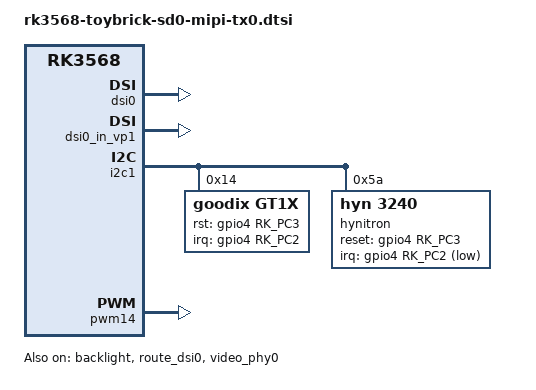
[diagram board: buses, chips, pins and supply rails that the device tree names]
// SPDX-License-Identifier: (GPL-2.0+ OR MIT)
/*
 * Copyright (c) 2023 Rockchip Electronics Co., Ltd.
 *
 */

/ {
	compatible = "rockchip,rk3568-toybrick-sd0-mipi-tx0", "rockchip,rk3568";
};

/*
 * mipi_dphy0 needs to be enabled
 * when dsi0 is enabled
 */
&backlight {
	status = "okay";
	pwms = <&pwm14 0 25000 0>;
};

&dsi0 {
	status = "okay";
};

&dsi0_in_vp0 {
	status = "disabled";
};

&dsi0_in_vp1 {
	status = "okay";
};

&dsi0_panel {
	power-supply = <&vcc3v3_lcd0_n>;
};

&i2c1 {
	status = "okay";
	power-supply = <&vcc3v3_lcd0_n>;
	gt1x: gt1x@14 {
		compatible = "goodix,gt1x";
		status = "okay";
		reg = <0x14>;
		pinctrl-names = "default";
		pinctrl-0 = <&touch_pin>;
		goodix,rst-gpio = <&gpio4 RK_PC3 GPIO_ACTIVE_HIGH>;
		goodix,irq-gpio = <&gpio4 RK_PC2 IRQ_TYPE_LEVEL_LOW>;
	};

	hynitron: hynitron@5a {
		compatible = "hyn,3240";
		status = "okay";
		reg = <0x5a>;

		pinctrl-names = "ts_active","ts_suspend";
		pinctrl-0 = <&ts_int_active &ts_reset_active>;
		pinctrl-1 = <&ts_int_suspend &ts_reset_suspend>;

		reset-gpios = <&gpio4 RK_PC3 GPIO_ACTIVE_HIGH>;
		irq-gpios = <&gpio4 RK_PC2 GPIO_ACTIVE_LOW>;

		max-touch-number = <5>;
		display-coords = <0 0 1080 1920>;
		pos-swap = <0>;
		posx-reverse = <0>;
		posy-reverse = <0>;
	};
};

&pwm14{
	status = "okay";
};

&route_dsi0 {
	status = "okay";
	connect = <&vp1_out_dsi0>;
};

&vcc3v3_lcd0_n {
	gpio = <&gpio3 RK_PC5 GPIO_ACTIVE_HIGH>;
	enable-active-high;
};

&video_phy0 {
	status = "okay";
};

&pinctrl {
	touch {
		touch_pin: touch-pin {
			rockchip,pins =
				<4 RK_PC3 RK_FUNC_GPIO &pcfg_pull_up>,
				<4 RK_PC2 RK_FUNC_GPIO &pcfg_pull_none>;
		};

		ts_int_active: ts_int_active {
			rockchip,pins = <4 RK_PC2 RK_FUNC_GPIO &pcfg_pull_up>;
		};

		ts_reset_active: ts_reset_active {
			rockchip,pins = <4 RK_PC3 RK_FUNC_GPIO &pcfg_pull_up>;
		};

		ts_int_suspend: ts_int_suspend {
			rockchip,pins = <4 RK_PC2 RK_FUNC_GPIO &pcfg_pull_down>;
		};

		ts_reset_suspend: ts_reset_suspend {
			rockchip,pins = <4 RK_PC3 RK_FUNC_GPIO &pcfg_pull_down>;
		};
	};
};
